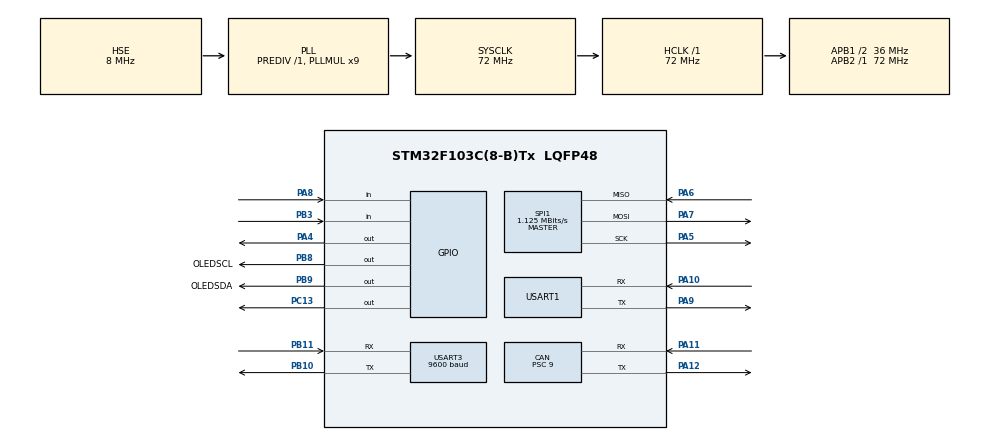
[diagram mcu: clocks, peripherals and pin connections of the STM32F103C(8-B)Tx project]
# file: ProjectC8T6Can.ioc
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CAN.BS1=CAN_BS1_6TQ
CAN.CalculateBaudRate=500000
CAN.CalculateTimeBit=2000
CAN.CalculateTimeQuantum=250.0
CAN.Prescaler=9
IWDG.Prescaler=IWDG_PRESCALER_64
IWDG.Reload=250
Mcu.Family=STM32F1
Mcu.Name=STM32F103C(8-B)Tx
Mcu.Package=LQFP48
NVIC.CAN1_RX1_IRQn=true\:0\:0\:false\:false\:true\:true\:true\:true
NVIC.PriorityGroup=NVIC_PRIORITYGROUP_4
NVIC.TIM4_IRQn=true\:2\:0\:true\:false\:true\:true\:true\:true
NVIC.USART1_IRQn=true\:0\:0\:true\:false\:true\:true\:true\:true
NVIC.USART3_IRQn=true\:1\:0\:true\:false\:true\:true\:true\:true
NVIC.USB_HP_CAN1_TX_IRQn=true\:1\:0\:true\:false\:true\:true\:true\:true
NVIC.USB_LP_CAN1_RX0_IRQn=true\:1\:0\:true\:false\:true\:true\:true\:true
PA10.Mode=Asynchronous
PA10.Signal=USART1_RX
PA11.Mode=CAN_Activate
PA11.Signal=CAN_RX
PA12.Mode=CAN_Activate
PA12.Signal=CAN_TX
PA13.Mode=Serial_Wire
PA13.Signal=SYS_JTMS-SWDIO
PA14.Mode=Serial_Wire
PA14.Signal=SYS_JTCK-SWCLK
PA4.PinState=GPIO_PIN_SET
PA4.Signal=GPIO_Output
PA5.Mode=Full_Duplex_Master
PA5.Signal=SPI1_SCK
PA6.Mode=Full_Duplex_Master
PA6.Signal=SPI1_MISO
PA7.Mode=Full_Duplex_Master
PA7.Signal=SPI1_MOSI
PA8.GPIO_Mode=GPIO_MODE_INPUT
PA8.GPIO_PuPd=GPIO_PULLDOWN
PA8.Signal=GPIO_Input
PA9.Mode=Asynchronous
PA9.Signal=USART1_TX
PB10.Mode=Asynchronous
PB10.Signal=USART3_TX
PB11.Mode=Asynchronous
PB11.Signal=USART3_RX
PB3.GPIO_Mode=GPIO_MODE_INPUT
PB3.GPIO_PuPd=GPIO_PULLDOWN
PB3.Signal=GPIO_Input
PB8.GPIO_Label=OLEDSCL
PB8.GPIO_ModeDefaultOutputPP=GPIO_MODE_OUTPUT_OD
PB8.GPIO_PuPd=GPIO_NOPULL
PB8.GPIO_Speed=GPIO_SPEED_FREQ_HIGH
PB8.PinState=GPIO_PIN_SET
PB8.Signal=GPIO_Output
PB9.GPIO_Label=OLEDSDA
PB9.GPIO_ModeDefaultOutputPP=GPIO_MODE_OUTPUT_OD
PB9.GPIO_PuPd=GPIO_NOPULL
PB9.GPIO_Speed=GPIO_SPEED_FREQ_HIGH
PB9.PinState=GPIO_PIN_SET
PB9.Signal=GPIO_Output
PC13-TAMPER-RTC.GPIO_Speed=GPIO_SPEED_FREQ_HIGH
PC13-TAMPER-RTC.PinState=GPIO_PIN_SET
PC13-TAMPER-RTC.Signal=GPIO_Output
PD0-OSC_IN.Mode=HSE-External-Oscillator
PD0-OSC_IN.Signal=RCC_OSC_IN
PD1-OSC_OUT.Mode=HSE-External-Oscillator
PD1-OSC_OUT.Signal=RCC_OSC_OUT
ProjectManager.HeapSize=0x200
ProjectManager.StackSize=0x400
ProjectManager.TargetToolchain=MDK-ARM V5.32
RCC.AHBFreq_Value=72000000
RCC.APB1CLKDivider=RCC_HCLK_DIV2
RCC.APB1Freq_Value=36000000
RCC.APB1TimFreq_Value=72000000
RCC.APB2Freq_Value=72000000
RCC.APB2TimFreq_Value=72000000
RCC.HCLKFreq_Value=72000000
RCC.PLLMUL=RCC_PLL_MUL9
RCC.PLLSourceVirtual=RCC_PLLSOURCE_HSE
RCC.SYSCLKFreq_VALUE=72000000
RCC.SYSCLKSource=RCC_SYSCLKSOURCE_PLLCLK
RCC.USBFreq_Value=72000000
SPI1.BaudRatePrescaler=SPI_BAUDRATEPRESCALER_64
SPI1.CalculateBaudRate=1.125 MBits/s
SPI1.Direction=SPI_DIRECTION_2LINES
SPI1.Mode=SPI_MODE_MASTER
SPI1.VirtualType=VM_MASTER
TIM4.Period=999
TIM4.Prescaler=71
USART1.VirtualMode=VM_ASYNC
USART3.BaudRate=9600
USART3.VirtualMode=VM_ASYNC
VP_IWDG_VS_IWDG.Mode=IWDG_Activate
VP_TIM4_VS_ClockSourceINT.Mode=Internal
board=custom

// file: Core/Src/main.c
/* USER CODE BEGIN Header */
/**
  ******************************************************************************
  * @file           : main.c
  * @brief          : Main program body
  ******************************************************************************
  * @attention
  *
  * Copyright (c) 2026 STMicroelectronics.
  * All rights reserved.
  *
  * This software is licensed under terms that can be found in the LICENSE file
  * in the root directory of this software component.
  * If no LICENSE file comes with this software, it is provided AS-IS.
  *
  ******************************************************************************
  */
/* USER CODE END Header */
#include "main.h"

/* USER CODE BEGIN Includes */
#include <string.h>
#include "Serial.h"
#include "LED.h"
#include "OLED.h"
#include "CAN.h"
#include "CAN_MSG.h"
#include "SSPC.h"
#include "Pro.h"
/* USER CODE END Includes */

/* USER CODE BEGIN PTD */
extern uint8_t USART1_RXBuffer[1];
extern uint8_t USART3_RXBuffer[1];
extern uint32_t U1_last_tick;
FC_SendData Read_data;
FC_SendData Zero_data = {0};
/* USER CODE END PTD */

CAN_HandleTypeDef hcan;

IWDG_HandleTypeDef hiwdg;

SPI_HandleTypeDef hspi1;

TIM_HandleTypeDef htim4;

UART_HandleTypeDef huart1;
UART_HandleTypeDef huart3;

void SystemClock_Config(void);
static void MX_GPIO_Init(void);
static void MX_CAN_Init(void);
static void MX_USART1_UART_Init(void);
static void MX_USART3_UART_Init(void);
static void MX_IWDG_Init(void);
static void MX_TIM4_Init(void);
static void MX_SPI1_Init(void);

int main(void)
{

  /* MCU Configuration--------------------------------------------------------*/

  /* Reset of all peripherals, Initializes the Flash interface and the Systick. */
  HAL_Init();

  /* Configure the system clock */
  SystemClock_Config();

  /* Initialize all configured peripherals */
  MX_GPIO_Init();
  MX_CAN_Init();
  MX_USART1_UART_Init();
  MX_USART3_UART_Init();
  MX_IWDG_Init();
  MX_TIM4_Init();
  MX_SPI1_Init();
  /* USER CODE BEGIN 2 */
	OLED_Init();
  bsp_can1_filter_config();
	HAL_CAN_Start(&hcan);
	HAL_CAN_ActivateNotification(&hcan,CAN_IT_RX_FIFO0_MSG_PENDING);
	HAL_NVIC_EnableIRQ(CAN1_RX0_IRQn);
  HAL_NVIC_SetPriority(CAN1_RX0_IRQn, 1, 0);
	HAL_TIM_Base_Start_IT(&htim4);
	HAL_UART_Receive_IT(&huart1,(uint8_t*)&USART1_RXBuffer,1);
	HAL_UART_Receive_IT(&huart3,(uint8_t*)&USART3_RXBuffer,1);
	OpChn_Sys_Init();
  /* USER CODE END 2 */

  /* Infinite loop */
  /* USER CODE BEGIN WHILE */
//	extern uint8_t SendBuff;
//	CAN_SendMsg(0x0012,&SendBuff);
//  LogChannelOp(0x01,0x01,0);
//	PrintALLChOp(0x01);
//  SSPC_Init();

  /*Waiting SSPC work*/
  Waiting_SSPC();
	U1_last_tick = HAL_GetTick();
//  OLED_ShowCANWord();
	while (1)
  {
		Process();                     /*main Loop*/
		USART3_LoopCall();             /*USART3 Loop inquiry*/
		USART1_LoopCall();
		HAL_IWDG_Refresh(&hiwdg);
    /* USER CODE END WHILE */

  }
}

void SystemClock_Config(void)
{
  RCC_OscInitTypeDef RCC_OscInitStruct = {0};
  RCC_ClkInitTypeDef RCC_ClkInitStruct = {0};

  /** Initializes the RCC Oscillators according to the specified parameters
  * in the RCC_OscInitTypeDef structure.
  */
  RCC_OscInitStruct.OscillatorType = RCC_OSCILLATORTYPE_LSI|RCC_OSCILLATORTYPE_HSE;
  RCC_OscInitStruct.HSEState = RCC_HSE_ON;
  RCC_OscInitStruct.HSEPredivValue = RCC_HSE_PREDIV_DIV1;
  RCC_OscInitStruct.HSIState = RCC_HSI_ON;
  RCC_OscInitStruct.LSIState = RCC_LSI_ON;
  RCC_OscInitStruct.PLL.PLLState = RCC_PLL_ON;
  RCC_OscInitStruct.PLL.PLLSource = RCC_PLLSOURCE_HSE;
  RCC_OscInitStruct.PLL.PLLMUL = RCC_PLL_MUL9;
  if (HAL_RCC_OscConfig(&RCC_OscInitStruct) != HAL_OK)
  {
    Error_Handler();
  }

  /** Initializes the CPU, AHB and APB buses clocks
  */
  RCC_ClkInitStruct.ClockType = RCC_CLOCKTYPE_HCLK|RCC_CLOCKTYPE_SYSCLK
                              |RCC_CLOCKTYPE_PCLK1|RCC_CLOCKTYPE_PCLK2;
  RCC_ClkInitStruct.SYSCLKSource = RCC_SYSCLKSOURCE_PLLCLK;
  RCC_ClkInitStruct.AHBCLKDivider = RCC_SYSCLK_DIV1;
  RCC_ClkInitStruct.APB1CLKDivider = RCC_HCLK_DIV2;
  RCC_ClkInitStruct.APB2CLKDivider = RCC_HCLK_DIV1;

  if (HAL_RCC_ClockConfig(&RCC_ClkInitStruct, FLASH_LATENCY_2) != HAL_OK)
  {
    Error_Handler();
  }
}

static void MX_CAN_Init(void)
{

  hcan.Instance = CAN1;
  hcan.Init.Prescaler = 9;
  hcan.Init.Mode = CAN_MODE_NORMAL;
  hcan.Init.SyncJumpWidth = CAN_SJW_1TQ;
  hcan.Init.TimeSeg1 = CAN_BS1_6TQ;
  hcan.Init.TimeSeg2 = CAN_BS2_1TQ;
  hcan.Init.TimeTriggeredMode = DISABLE;
  hcan.Init.AutoBusOff = DISABLE;
  hcan.Init.AutoWakeUp = DISABLE;
  hcan.Init.AutoRetransmission = DISABLE;
  hcan.Init.ReceiveFifoLocked = DISABLE;
  hcan.Init.TransmitFifoPriority = DISABLE;
  if (HAL_CAN_Init(&hcan) != HAL_OK)
  {
    Error_Handler();
  }

}

static void MX_IWDG_Init(void)
{

  hiwdg.Instance = IWDG;
  hiwdg.Init.Prescaler = IWDG_PRESCALER_64;
  hiwdg.Init.Reload = 250;
  if (HAL_IWDG_Init(&hiwdg) != HAL_OK)
  {
    Error_Handler();
  }

}

static void MX_SPI1_Init(void)
{

  /* SPI1 parameter configuration*/
  hspi1.Instance = SPI1;
  hspi1.Init.Mode = SPI_MODE_MASTER;
  hspi1.Init.Direction = SPI_DIRECTION_2LINES;
  hspi1.Init.DataSize = SPI_DATASIZE_8BIT;
  hspi1.Init.CLKPolarity = SPI_POLARITY_LOW;
  hspi1.Init.CLKPhase = SPI_PHASE_1EDGE;
  hspi1.Init.NSS = SPI_NSS_SOFT;
  hspi1.Init.BaudRatePrescaler = SPI_BAUDRATEPRESCALER_64;
  hspi1.Init.FirstBit = SPI_FIRSTBIT_MSB;
  hspi1.Init.TIMode = SPI_TIMODE_DISABLE;
  hspi1.Init.CRCCalculation = SPI_CRCCALCULATION_DISABLE;
  hspi1.Init.CRCPolynomial = 10;
  if (HAL_SPI_Init(&hspi1) != HAL_OK)
  {
    Error_Handler();
  }

}

static void MX_TIM4_Init(void)
{

  TIM_ClockConfigTypeDef sClockSourceConfig = {0};
  TIM_MasterConfigTypeDef sMasterConfig = {0};

  htim4.Instance = TIM4;
  htim4.Init.Prescaler = 71;
  htim4.Init.CounterMode = TIM_COUNTERMODE_UP;
  htim4.Init.Period = 999;
  htim4.Init.ClockDivision = TIM_CLOCKDIVISION_DIV1;
  htim4.Init.AutoReloadPreload = TIM_AUTORELOAD_PRELOAD_DISABLE;
  if (HAL_TIM_Base_Init(&htim4) != HAL_OK)
  {
    Error_Handler();
  }
  sClockSourceConfig.ClockSource = TIM_CLOCKSOURCE_INTERNAL;
  if (HAL_TIM_ConfigClockSource(&htim4, &sClockSourceConfig) != HAL_OK)
  {
    Error_Handler();
  }
  sMasterConfig.MasterOutputTrigger = TIM_TRGO_RESET;
  sMasterConfig.MasterSlaveMode = TIM_MASTERSLAVEMODE_DISABLE;
  if (HAL_TIMEx_MasterConfigSynchronization(&htim4, &sMasterConfig) != HAL_OK)
  {
    Error_Handler();
  }

}

static void MX_USART1_UART_Init(void)
{

  huart1.Instance = USART1;
  huart1.Init.BaudRate = 115200;
  huart1.Init.WordLength = UART_WORDLENGTH_8B;
  huart1.Init.StopBits = UART_STOPBITS_1;
  huart1.Init.Parity = UART_PARITY_NONE;
  huart1.Init.Mode = UART_MODE_TX_RX;
  huart1.Init.HwFlowCtl = UART_HWCONTROL_NONE;
  huart1.Init.OverSampling = UART_OVERSAMPLING_16;
  if (HAL_UART_Init(&huart1) != HAL_OK)
  {
    Error_Handler();
  }

}

static void MX_USART3_UART_Init(void)
{

  huart3.Instance = USART3;
  huart3.Init.BaudRate = 9600;
  huart3.Init.WordLength = UART_WORDLENGTH_8B;
  huart3.Init.StopBits = UART_STOPBITS_1;
  huart3.Init.Parity = UART_PARITY_NONE;
  huart3.Init.Mode = UART_MODE_TX_RX;
  huart3.Init.HwFlowCtl = UART_HWCONTROL_NONE;
  huart3.Init.OverSampling = UART_OVERSAMPLING_16;
  if (HAL_UART_Init(&huart3) != HAL_OK)
  {
    Error_Handler();
  }

}

static void MX_GPIO_Init(void)
{
  GPIO_InitTypeDef GPIO_InitStruct = {0};

  /* GPIO Ports Clock Enable */
  __HAL_RCC_GPIOC_CLK_ENABLE();
  __HAL_RCC_GPIOD_CLK_ENABLE();
  __HAL_RCC_GPIOA_CLK_ENABLE();
  __HAL_RCC_GPIOB_CLK_ENABLE();

  /*Configure GPIO pin Output Level */
  HAL_GPIO_WritePin(GPIOC, GPIO_PIN_13, GPIO_PIN_SET);

  /*Configure GPIO pin Output Level */
  HAL_GPIO_WritePin(GPIOA, GPIO_PIN_4, GPIO_PIN_SET);

  /*Configure GPIO pin Output Level */
  HAL_GPIO_WritePin(GPIOB, OLEDSCL_Pin|OLEDSDA_Pin, GPIO_PIN_SET);

  /*Configure GPIO pin : PC13 */
  GPIO_InitStruct.Pin = GPIO_PIN_13;
  GPIO_InitStruct.Mode = GPIO_MODE_OUTPUT_PP;
  GPIO_InitStruct.Pull = GPIO_NOPULL;
  GPIO_InitStruct.Speed = GPIO_SPEED_FREQ_HIGH;
  HAL_GPIO_Init(GPIOC, &GPIO_InitStruct);

  /*Configure GPIO pin : PA4 */
  GPIO_InitStruct.Pin = GPIO_PIN_4;
  GPIO_InitStruct.Mode = GPIO_MODE_OUTPUT_PP;
  GPIO_InitStruct.Pull = GPIO_NOPULL;
  GPIO_InitStruct.Speed = GPIO_SPEED_FREQ_LOW;
  HAL_GPIO_Init(GPIOA, &GPIO_InitStruct);

  /*Configure GPIO pin : PA8 */
  GPIO_InitStruct.Pin = GPIO_PIN_8;
  GPIO_InitStruct.Mode = GPIO_MODE_INPUT;
  GPIO_InitStruct.Pull = GPIO_PULLDOWN;
  HAL_GPIO_Init(GPIOA, &GPIO_InitStruct);

  /*Configure GPIO pin : PB3 */
  GPIO_InitStruct.Pin = GPIO_PIN_3;
  GPIO_InitStruct.Mode = GPIO_MODE_INPUT;
  GPIO_InitStruct.Pull = GPIO_PULLUP;
  HAL_GPIO_Init(GPIOB, &GPIO_InitStruct);

  /*Configure GPIO pins : OLEDSCL_Pin OLEDSDA_Pin */
  GPIO_InitStruct.Pin = OLEDSCL_Pin|OLEDSDA_Pin;
  GPIO_InitStruct.Mode = GPIO_MODE_OUTPUT_OD;
  GPIO_InitStruct.Pull = GPIO_NOPULL;
  GPIO_InitStruct.Speed = GPIO_SPEED_FREQ_HIGH;
  HAL_GPIO_Init(GPIOB, &GPIO_InitStruct);

}

void Error_Handler(void)
{
  __disable_irq();
  while (1)
  {
  }
}
